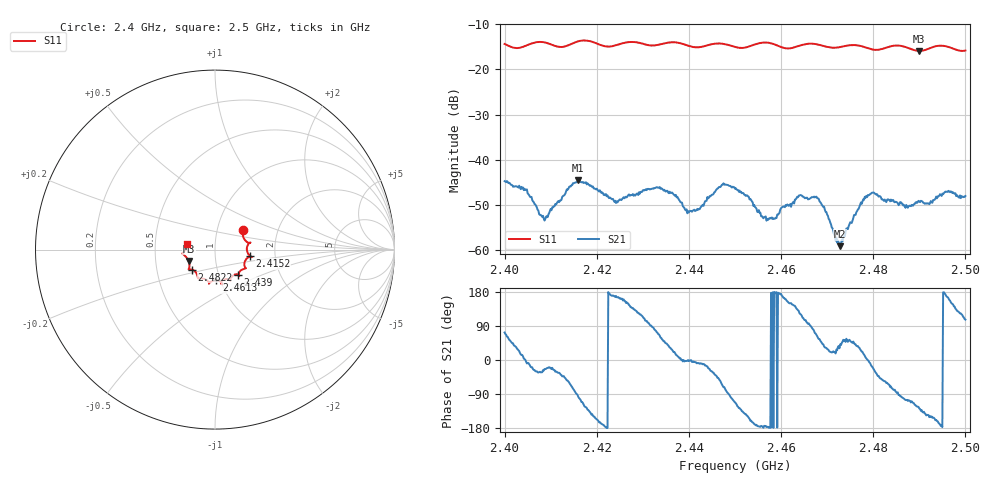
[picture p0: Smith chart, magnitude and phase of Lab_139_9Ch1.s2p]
# Hz S RI R 50
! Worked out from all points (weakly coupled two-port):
!   601 points, 2.4 GHz to 2.5 GHz, reference 50 ohm
!   highest |S21| = -44.56 dB at 2.416 GHz (marker M1); lowest = -59.1 dB at 2.4728 GHz (marker M2)
!   lowest |S11| = -15.9 dB at 2.49 GHz (marker M3), VSWR 1.38, Z = 36.9 - j4.85 ohm
!   |S11| at or under -10 dB: start of sweep to end of sweep
!   S12 and S22 are empty: the file has one direction only
!   S11 on the Smith chart (normalised r, x): 2.4 GHz: 1.33, +0.31; 2.4152 GHz: 1.48, -0.11; 2.439 GHz: 1.24, -0.36; 2.4613 GHz: 0.96, -0.34; 2.4822 GHz: 0.76, -0.17; 2.5 GHz: 0.72, +0.05
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2.4e9  0.1561 0.1108  0.00174 0.00553  0 0  0 0
2.404333e9  0.1755 0.0449  0.00478 0.000198  0 0  0 0
2.408833e9  0.1949 0.0387  0.00202 -0.000904  0 0  0 0
2.415167e9  0.195 -0.0359  0.000829 -0.00549  0 0  0 0
2.416e9  0.2011 -0.0404  -0.000781 -0.00586  0 0  0 0
2.416667e9  0.2043 -0.042  -0.002 -0.00529  0 0  0 0
2.424167e9  0.1636 -0.0867  -0.00326 0.000641  0 0  0 0
2.433333e9  0.133 -0.1325  0.00179 0.00456  0 0  0 0
2.439e9  0.1283 -0.1391  0.00293 -0.000198  0 0  0 0
2.441833e9  0.1003 -0.1443  0.00283 -0.000415  0 0  0 0
2.4475e9  0.0853 -0.1719  0.00172 -0.00521  0 0  0 0
2.45e9  0.0686 -0.1639  -0.00179 -0.00444  0 0  0 0
2.456667e9  0.0392 -0.1948  -0.00235 -0.000251  0 0  0 0
2.461333e9  0.00776 -0.1708  -0.0029 0.00136  0 0  0 0
2.466667e9  -0.0335 -0.1902  0.000313 0.00385  0 0  0 0
2.468833e9  -0.0352 -0.1809  0.00225 0.00225  0 0  0 0
2.472833e9  -0.0755 -0.1601  0.000829 0.000732  0 0  0 0
2.478333e9  -0.0979 -0.1455  0.00377 0.000456  0 0  0 0
2.482167e9  -0.1279 -0.112  0.0021 -0.00292  0 0  0 0
2.483333e9  -0.1392 -0.1105  0.00157 -0.00326  0 0  0 0
2.49e9  -0.147 -0.064  -0.00213 -0.00271  0 0  0 0
2.5e9  -0.1586 0.0333  -0.00113 0.00381  0 0  0 0
